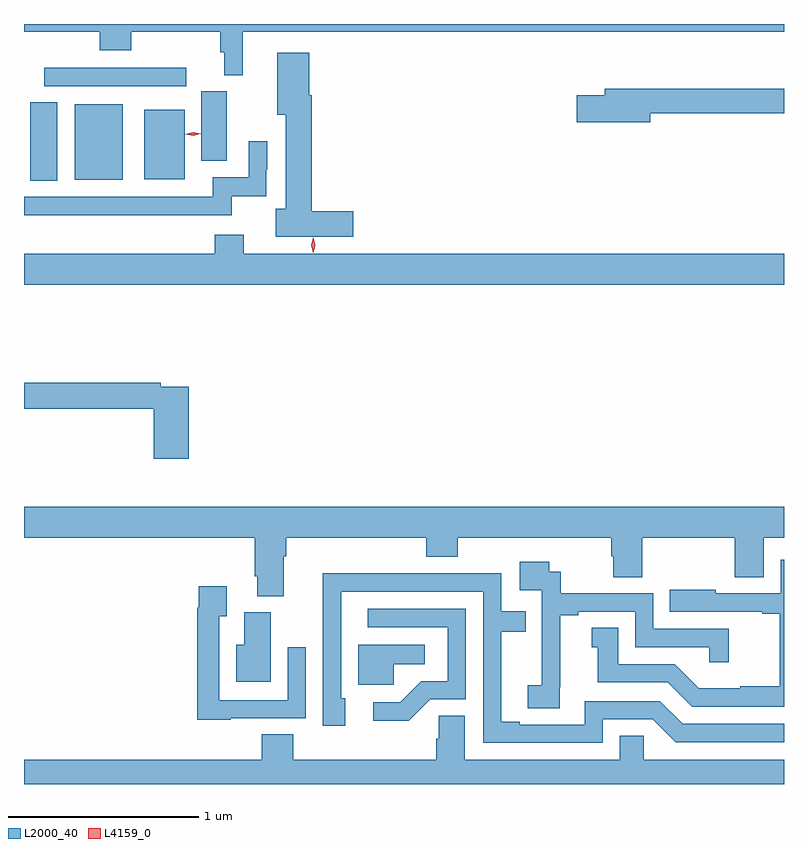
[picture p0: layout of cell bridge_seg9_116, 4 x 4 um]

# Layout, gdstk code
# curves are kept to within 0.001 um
import gdstk
lib = gdstk.Library(unit=1e-6, precision=1e-09)
def R(c, l, rs):  # rectangles x0, y0, x1, y1
    for r in rs: c.add(gdstk.rectangle(r[:2], r[2:], *l))
def P(c, l, *ps):  # polygons
    for p in ps: c.add(gdstk.Polygon(p, *l))
L2000_40 = (2000, 40)
L4159_0 = (4159, 0)

bridge_seg9_116 = lib.new_cell('bridge_seg9_116')
R(bridge_seg9_116, L2000_40, [(633.323,1240.924,633.466,1241.336), (633.557,1240.928,633.811,1241.326), (633.923,1240.931,634.135,1241.296), (634.223,1241.027,634.357,1241.394), (633.396,1241.421,634.144,1241.517)])
P(bridge_seg9_116, L2000_40, [(634.442,1241.708),(637.29,1241.708),(637.29,1241.748),(633.29,1241.748),(633.29,1241.708),(633.689,1241.708),(633.689,1241.609),(633.854,1241.609),(633.854,1241.708),(634.324,1241.708),(634.324,1241.6),(634.343,1241.6),(634.343,1241.479),(634.442,1241.479)],
  [(635.023,1240.763),(634.805,1240.763),(634.805,1241.374),(634.792,1241.374),(634.792,1241.596),(634.622,1241.596),(634.622,1241.27),(634.667,1241.27),(634.667,1240.776),(634.614,1240.776),(634.614,1240.628),(635.023,1240.628)],
  [(636.586,1241.278),(637.29,1241.278),(637.29,1241.407),(636.347,1241.407),(636.347,1241.373),(636.198,1241.373),(636.198,1241.231),(636.586,1241.231)],
  [(634.383,1240.842),(634.566,1240.842),(634.566,1240.98),(634.569,1240.98),(634.569,1241.131),(634.473,1241.131),(634.473,1240.942),(634.283,1240.942),(634.283,1240.839),(633.29,1240.839),(633.29,1240.742),(634.383,1240.742)],
  [(637.29,1240.54),(634.447,1240.54),(634.447,1240.639),(634.295,1240.639),(634.295,1240.54),(633.29,1240.54),(633.29,1240.376),(637.29,1240.376)],
  [(634.157,1239.84),(634.01,1239.84),(634.01,1239.86),(633.29,1239.86),(633.29,1239.724),(633.974,1239.724),(633.974,1239.459),(634.157,1239.459)],
  [(634.657,1238.948),(634.67,1238.948),(634.67,1239.044),(635.408,1239.044),(635.408,1238.945),(635.573,1238.945),(635.573,1239.044),(636.38,1239.044),(636.38,1238.946),(636.392,1238.946),(636.392,1238.836),(636.545,1238.836),(636.545,1239.044),(637.031,1239.044),(637.031,1238.836),(637.183,1238.836),(637.183,1239.044),(637.29,1239.044),(637.29,1239.208),(633.29,1239.208),(633.29,1239.044),(634.505,1239.044),(634.505,1238.842),(634.517,1238.842),(634.517,1238.737),(634.657,1238.737)],
  [(637.29,1238.929),(637.272,1238.929),(637.272,1238.751),(636.931,1238.751),(636.931,1238.77),(636.688,1238.77),(636.688,1238.655),(637.175,1238.655),(637.175,1238.643),(637.267,1238.643),(637.267,1238.263),(637.061,1238.263),(637.061,1238.251),(636.842,1238.251),(636.714,1238.379),(636.418,1238.379),(636.418,1238.57),(636.278,1238.57),(636.278,1238.467),(636.311,1238.467),(636.311,1238.283),(636.678,1238.283),(636.807,1238.154),(637.29,1238.154)],
  [(636.11,1238.257),(636.112,1238.257),(636.112,1238.635),(636.208,1238.635),(636.208,1238.655),(636.507,1238.655),(636.507,1238.469),(636.897,1238.469),(636.897,1238.388),(636.998,1238.388),(636.998,1238.565),(636.603,1238.565),(636.603,1238.751),(636.116,1238.751),(636.116,1238.865),(636.054,1238.865),(636.054,1238.917),(635.898,1238.917),(635.898,1238.769),(636.015,1238.769),(636.015,1238.465),(636.014,1238.465),(636.014,1238.268),(635.94,1238.268),(635.94,1238.146),(636.11,1238.146)],
  [(636.336,1238.088),(636.6,1238.088),(636.72,1237.968),(637.29,1237.968),(637.29,1238.064),(636.756,1238.064),(636.636,1238.184),(636.24,1238.184),(636.24,1238.061),(635.899,1238.061),(635.899,1238.076),(635.803,1238.076),(635.803,1238.55),(635.93,1238.55),(635.93,1238.658),(635.802,1238.658),(635.802,1238.856),(635.324,1238.856),(635.324,1238.858),(634.862,1238.858),(634.863,1238.055),(634.981,1238.055),(634.981,1238.199),(634.959,1238.199),(634.959,1238.76),(635.706,1238.76),(635.706,1237.965),(636.336,1237.965)],
  [(634.377,1238.094),(634.773,1238.094),(634.773,1238.467),(634.677,1238.467),(634.677,1238.19),(634.317,1238.19),(634.317,1238.632),(634.357,1238.632),(634.357,1238.788),(634.209,1238.788),(634.209,1238.675),(634.201,1238.675),(634.201,1238.087),(634.377,1238.087)],
  [(635.427,1238.193),(635.616,1238.193),(635.616,1238.67),(635.1,1238.67),(635.1,1238.574),(635.52,1238.574),(635.52,1238.289),(635.382,1238.289),(635.271,1238.178),(635.127,1238.178),(635.127,1238.081),(635.314,1238.081)],
  [(634.588,1238.652),(634.448,1238.652),(634.448,1238.482),(634.406,1238.482),(634.406,1238.285),(634.588,1238.285)],
  [(635.235,1238.378),(635.398,1238.378),(635.398,1238.482),(635.048,1238.482),(635.048,1238.271),(635.235,1238.271)],
  [(637.29,1237.876),(636.552,1237.876),(636.552,1238.003),(636.425,1238.003),(636.425,1237.876),(635.611,1237.876),(635.611,1238.108),(635.472,1238.108),(635.472,1237.985),(635.459,1237.985),(635.459,1237.876),(634.706,1237.876),(634.706,1238.009),(634.541,1238.009),(634.541,1237.876),(633.29,1237.876),(633.29,1237.748),(637.29,1237.748)])
P(bridge_seg9_116, L4159_0, [(634.18,1241.159),(634.139,1241.168),(634.139,1241.168),(634.139,1241.168),(634.18,1241.179),(634.221,1241.17),(634.221,1241.17),(634.221,1241.17)],
  [(634.813,1240.544),(634.813,1240.544),(634.803,1240.584),(634.813,1240.624),(634.813,1240.624),(634.813,1240.624),(634.823,1240.584),(634.813,1240.544)])

lib.write_gds('bridge_seg9_116.gds')
